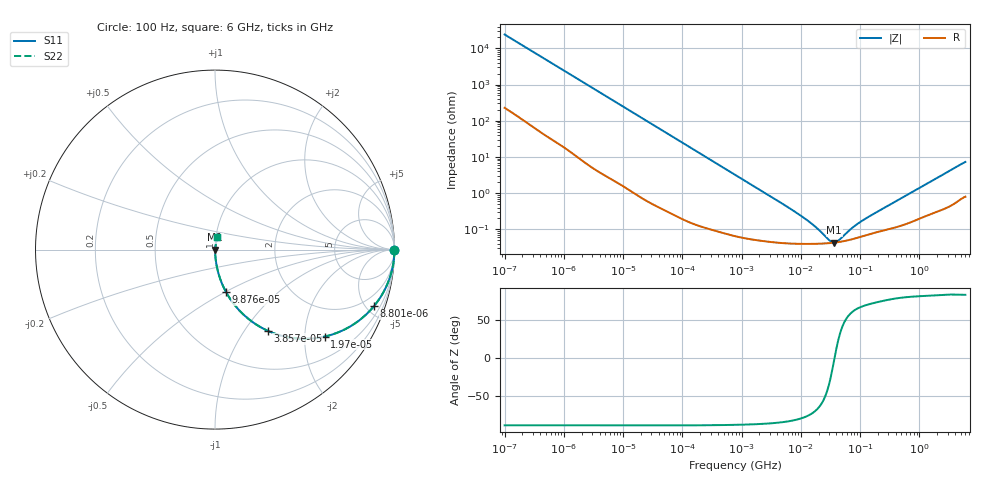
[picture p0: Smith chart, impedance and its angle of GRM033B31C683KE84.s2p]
!Murata Part Number: GRM033B31C683KE84
!These Parameters are Measured in Series Mode Connection
!Data Generated on Mar 30, 2021
!  o--ll--o
!Port1  Port2
!  o------o
!Operation Temp=25[degC], DC Bias Voltage=0[V]
!Freq. Start=100[Hz] Stop=6[GHz] 401[Steps]
# Hz S RI R 50
!Freq.(Hz) S11(Real) S11(Imag) S21(Real) S21(Imag) S12(Real) S12(Imag) S22(Real) S22(Imag)
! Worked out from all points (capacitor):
!   401 points, 100 Hz to 6 GHz, reference 50 ohm
!   read as one part in series: C = 65.9 nF near 109 Hz
!   lowest |Z| = 43 mohm at 36.42 MHz (marker M1)
!   series resonance near 37.12 MHz, so ESL is about 280 pH
!   S11 on the Smith chart (normalised r, x): 100 Hz: open; 8.801 kHz: 1.04, -5.60; 19.7 kHz: 1.02, -2.51; 38.57 kHz: 1.01, -1.28; 98.76 kHz: 1.00, -0.50; 6 GHz: 1.02, +0.14
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100  0.9999 -0.00415  5.62e-05 0.00415  5.62e-05 0.00415  0.9999 -0.00415
627  0.9991 -0.0257  0.000862 0.0257  0.000862 0.0257  0.9991 -0.0257
2008  0.9928 -0.0813  0.00721 0.0813  0.00721 0.0813  0.9928 -0.0813
4918  0.9604 -0.192  0.0396 0.192  0.0396 0.192  0.9604 -0.192
8801  0.8852 -0.3156  0.1148 0.3156  0.1148 0.3156  0.8852 -0.3156
13169  0.7768 -0.4133  0.2232 0.4133  0.2232 0.4133  0.7768 -0.4133
19704  0.6105 -0.4846  0.3895 0.4846  0.3895 0.4846  0.6105 -0.4846
26957  0.4572 -0.4951  0.5428 0.4951  0.5428 0.4951  0.4572 -0.4951
38569  0.293 -0.4519  0.707 0.4519  0.707 0.4519  0.293 -0.4519
40335  0.275 -0.4433  0.725 0.4433  0.725 0.4433  0.275 -0.4433
60352  0.1462 -0.3498  0.8538 0.3498  0.8538 0.3498  0.1462 -0.3498
98762  0.0611 -0.2357  0.9389 0.2357  0.9389 0.2357  0.0611 -0.2357
241822  0.0116 -0.1018  0.9884 0.1018  0.9884 0.1018  0.0116 -0.1018
774597  0.00169 -0.0323  0.9983 0.0323  0.9983 0.0323  0.00169 -0.0323
6353432  0.000421 -0.00387  0.9996 0.00387  0.9996 0.00387  0.000421 -0.00387
1.555665e7  0.000399 -0.00134  0.9996 0.00134  0.9996 0.00134  0.000399 -0.00134
3.045065e7  0.000417 -0.00027  0.9996 0.00027  0.9996 0.00027  0.000417 -0.00027
3.64232e7  0.000429 -2.53e-05  0.9996 2.53e-05  0.9996 2.53e-05  0.000429 -2.53e-05
4.35672e7  0.000446 0.000216  0.9996 -0.000216  0.9996 -0.000216  0.000446 0.000216
9.753859e7  0.000609 0.00141  0.9994 -0.00141  0.9994 -0.00141  0.000609 0.00141
3.124326e8  0.00104 0.00457  0.999 -0.00457  0.999 -0.00457  0.00104 0.00457
6e9  0.013 0.0709  0.987 -0.0709  0.987 -0.0709  0.013 0.0709
